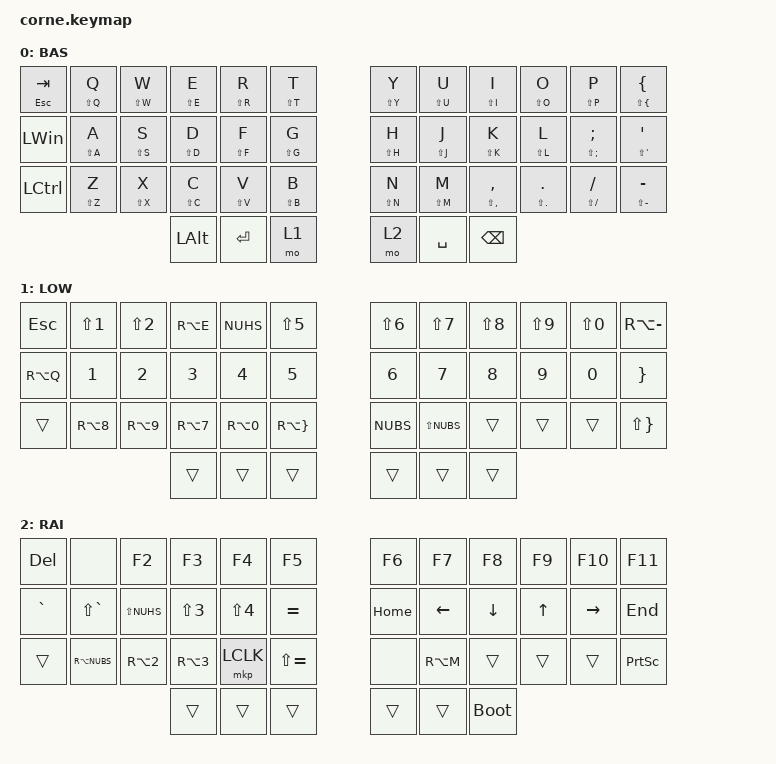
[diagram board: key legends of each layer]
/*
 * Copyright (c) 2020 The ZMK Contributors
 *
 * SPDX-License-Identifier: MIT
 */

#include <dt-bindings/zmk/mouse.h>
#include <behaviors.dtsi>
#include <dt-bindings/zmk/keys.h>
#include <dt-bindings/zmk/pointing.h>

&mt { flavor = "balanced"; };

/ {
    combos {
        compatible = "zmk,combos";

        strgyShift {
            bindings = <&kp LEFT_SHIFT>;
            key-positions = <24 25>;
        };

        minusszshift {
            bindings = <&kp RIGHT_SHIFT>;
            key-positions = <35 34>;
        };
    };

    keymap {
        compatible = "zmk,keymap";

        default_layer {
            display-name = "BAS";

            // -----------------------------------------------------------------------------------------
            // |  TAB |  Q  |  W  |  E  |  R  |  T  |   |  Y  |  U   |  I  |  O  |  P  | BKSP |
            // | CTRL |  A  |  S  |  D  |  F  |  G  |   |  H  |  J   |  K  |  L  |  ;  |  '   |
            // | SHFT |  Z  |  X  |  C  |  V  |  B  |   |  N  |  M   |  ,  |  .  |  /  | ESC  |
            //                    | GUI | LWR | SPC |   | ENT | RSE  | ALT |

            bindings = <
&mt ESCAPE TAB  &mt LS(Q) Q  &mt LS(W) W  &mt LS(E) E   &mt LS(R) R  &mt LS(T) T    &mt LS(Y) Y  &mt LS(U) U  &mt LS(I) I          &mt LS(O) O      &mt LS(P) P        &mt LS(LEFT_BRACE) LEFT_BRACE
&kp LEFT_WIN    &mt LS(A) A  &mt LS(S) S  &mt LS(D) D   &mt LS(F) F  &mt LS(G) G    &mt LS(H) H  &mt LS(J) J  &mt LS(K) K          &mt LS(L) L      &mt LS(SEMI) SEMI  &mt LS(SQT) SQT
&kp LCTRL       &mt LS(Z) Z  &mt LS(X) X  &mt LS(C) C   &mt LS(V) V  &mt LS(B) B    &mt LS(N) N  &mt LS(M) M  &mt LS(COMMA) COMMA  &mt LS(DOT) DOT  &mt LS(FSLH) FSLH  &mt LS(MINUS) MINUS
                                          &kp LEFT_ALT  &kp RET      &mo 1          &mo 2        &kp SPACE    &kp BACKSPACE
            >;
        };

        lower_layer {
            display-name = "LOW";

            // -----------------------------------------------------------------------------------------
            // |  TAB |  1  |  2  |  3  |  4  |  5  |   |  6  |  7  |  8  |  9  |  0  | BKSP |
            // | BTCLR| BT1 | BT2 | BT3 | BT4 | BT5 |   | LFT | DWN |  UP | RGT |     |      |
            // | SHFT |     |     |     |     |     |   |     |     |     |     |     |      |
            //                    | GUI |     | SPC |   | ENT |     | ALT |

            bindings = <
&kp ESCAPE  &kp LS(N1)    &kp LS(N2)    &kp RA(E)     &kp NUHS      &kp LS(N5)             &kp LS(N6)    &kp LS(N7)    &kp LS(N8)  &kp LS(N9)  &kp LS(N0)  &kp RA(MINUS)
&kp RA(Q)   &kp NUMBER_1  &kp NUMBER_2  &kp NUMBER_3  &kp NUMBER_4  &kp N5                 &kp NUMBER_6  &kp N7        &kp N8      &kp N9      &kp N0      &kp RIGHT_BRACE
&trans      &kp RA(N8)    &kp RA(N9)    &kp RA(N7)    &kp RA(N0)    &kp RA(RIGHT_BRACE)    &kp NUBS      &kp LS(NUBS)  &trans      &trans      &trans      &kp LS(RIGHT_BRACE)
                                        &trans        &trans        &trans                 &trans        &trans        &trans
            >;
        };

        raise_layer {
            display-name = "RAI";

            // -----------------------------------------------------------------------------------------
            // |  TAB |  !  |  @  |  #  |  $  |  %  |   |  ^  |  &  |  *  |  (  |  )  | BKSP |
            // | CTRL |     |     |     |     |     |   |  -  |  =  |  [  |  ]  |  \  |  `   |
            // | SHFT |     |     |     |     |     |   |  _  |  +  |  {  |  }  | "|" |  ~   |
            //                    | GUI |     | SPC |   | ENT |     | ALT |

            bindings = <
&kp DELETE  &none          &kp F2            &kp F3            &kp F4            &kp F5           &kp F6    &kp F7     &kp F8       &kp F9        &kp F10    &kp F11
&kp GRAVE   &kp LS(GRAVE)  &kp LS(NUHS)      &kp LS(NUMBER_3)  &kp LS(NUMBER_4)  &kp EQUAL        &kp HOME  &kp LEFT   &kp DOWN     &kp UP_ARROW  &kp RIGHT  &kp END
&trans      &kp RA(NUBS)   &kp RA(NUMBER_2)  &kp RA(NUMBER_3)  &mkp LCLK         &kp LS(EQUAL)    &none     &kp RA(M)  &trans       &trans        &trans     &kp PRINTSCREEN
                                             &trans            &trans            &trans           &trans    &trans     &bootloader
            >;
        };
    };
};
